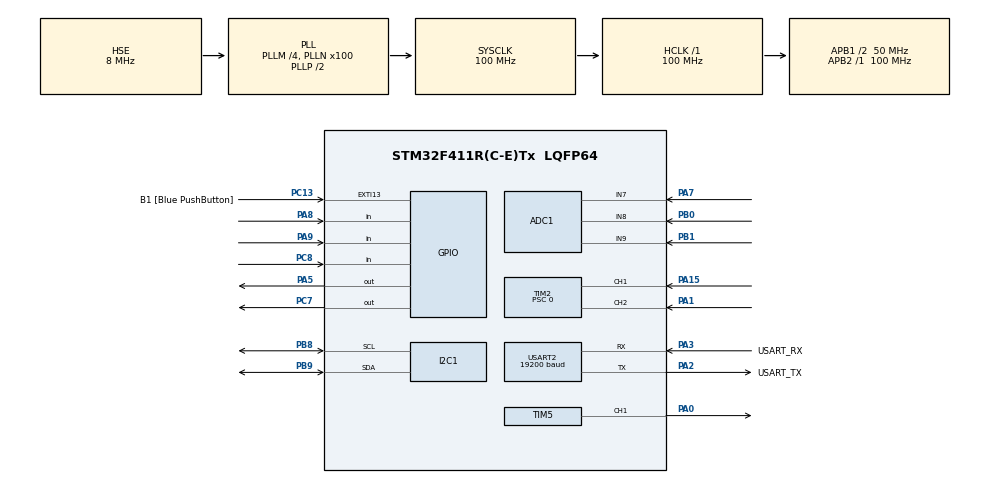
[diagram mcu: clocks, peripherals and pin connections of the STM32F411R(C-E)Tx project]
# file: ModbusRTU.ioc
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ADC1.Channel-6\#ChannelRegularConversion=ADC_CHANNEL_8
ADC1.Channel-7\#ChannelRegularConversion=ADC_CHANNEL_9
ADC1.Channel-8\#ChannelRegularConversion=ADC_CHANNEL_7
ADC1.ContinuousConvMode=ENABLE
ADC1.DMAContinuousRequests=ENABLE
ADC1.NbrOfConversion=3
ADC1.NbrOfConversionFlag=1
ADC1.Rank-6\#ChannelRegularConversion=1
ADC1.Rank-7\#ChannelRegularConversion=2
ADC1.Rank-8\#ChannelRegularConversion=3
ADC1.SamplingTime-6\#ChannelRegularConversion=ADC_SAMPLETIME_56CYCLES
ADC1.SamplingTime-7\#ChannelRegularConversion=ADC_SAMPLETIME_56CYCLES
ADC1.SamplingTime-8\#ChannelRegularConversion=ADC_SAMPLETIME_56CYCLES
ADC1.ScanConvMode=ENABLE
ADC1.master=1
ARM.CMSIS.5.6.0.CMSISJjCORE=true
ARM.CMSIS.5.6.0.CMSISJjDSP=Library
Dma.ADC1.1.Direction=DMA_PERIPH_TO_MEMORY
Dma.ADC1.1.FIFOMode=DMA_FIFOMODE_DISABLE
Dma.ADC1.1.Instance=DMA2_Stream0
Dma.ADC1.1.MemDataAlignment=DMA_MDATAALIGN_HALFWORD
Dma.ADC1.1.MemInc=DMA_MINC_ENABLE
Dma.ADC1.1.Mode=DMA_CIRCULAR
Dma.ADC1.1.PeriphDataAlignment=DMA_PDATAALIGN_HALFWORD
Dma.ADC1.1.PeriphInc=DMA_PINC_DISABLE
Dma.ADC1.1.Priority=DMA_PRIORITY_LOW
Dma.Request0=USART2_TX
Dma.Request1=ADC1
Dma.USART2_TX.0.Direction=DMA_MEMORY_TO_PERIPH
Dma.USART2_TX.0.FIFOMode=DMA_FIFOMODE_DISABLE
Dma.USART2_TX.0.Instance=DMA1_Stream6
Dma.USART2_TX.0.MemDataAlignment=DMA_MDATAALIGN_BYTE
Dma.USART2_TX.0.MemInc=DMA_MINC_ENABLE
Dma.USART2_TX.0.Mode=DMA_NORMAL
Dma.USART2_TX.0.PeriphDataAlignment=DMA_PDATAALIGN_BYTE
Dma.USART2_TX.0.PeriphInc=DMA_PINC_DISABLE
Dma.USART2_TX.0.Priority=DMA_PRIORITY_LOW
Mcu.Family=STM32F4
Mcu.Name=STM32F411R(C-E)Tx
Mcu.Package=LQFP64
NVIC.DMA1_Stream6_IRQn=true\:0\:0\:false\:false\:true\:false\:true\:true
NVIC.DMA2_Stream0_IRQn=true\:0\:0\:false\:false\:true\:false\:true\:true
NVIC.I2C1_ER_IRQn=true\:0\:0\:false\:false\:true\:true\:true\:true
NVIC.I2C1_EV_IRQn=true\:0\:0\:false\:false\:true\:true\:true\:true
NVIC.PriorityGroup=NVIC_PRIORITYGROUP_0
NVIC.TIM1_TRG_COM_TIM11_IRQn=true\:0\:0\:false\:false\:true\:true\:true\:true
NVIC.TIM2_IRQn=true\:0\:0\:false\:false\:true\:true\:true\:true
NVIC.TIM3_IRQn=true\:0\:0\:false\:false\:true\:true\:true\:true
NVIC.USART2_IRQn=true\:0\:0\:false\:false\:true\:true\:true\:true
PA0-WKUP.Signal=S_TIM5_CH1
PA1.Signal=S_TIM2_CH2
PA13.GPIO_Label=TMS
PA13.Mode=Serial_Wire
PA13.Signal=SYS_JTMS-SWDIO
PA14.GPIO_Label=TCK
PA14.Mode=Serial_Wire
PA14.Signal=SYS_JTCK-SWCLK
PA15.Signal=S_TIM2_CH1_ETR
PA2.GPIO_Label=USART_TX
PA2.Mode=Asynchronous
PA2.Signal=USART2_TX
PA3.GPIO_Label=USART_RX
PA3.Mode=Asynchronous
PA3.Signal=USART2_RX
PA5.Signal=GPIO_Output
PA7.Signal=ADCx_IN7
PA8.Signal=GPIO_Input
PA9.Signal=GPIO_Input
PB0.Signal=ADCx_IN8
PB1.Signal=ADCx_IN9
PB3.GPIO_Label=SWO
PB3.Signal=SYS_JTDO-SWO
PB8.Mode=I2C
PB8.Signal=I2C1_SCL
PB9.Mode=I2C
PB9.Signal=I2C1_SDA
PC13-ANTI_TAMP.GPIO_Label=B1 [Blue PushButton]
PC13-ANTI_TAMP.GPIO_ModeDefaultEXTI=GPIO_MODE_IT_FALLING
PC13-ANTI_TAMP.Signal=GPXTI13
PC14-OSC32_IN.Mode=LSE-External-Oscillator
PC14-OSC32_IN.Signal=RCC_OSC32_IN
PC15-OSC32_OUT.Mode=LSE-External-Oscillator
PC15-OSC32_OUT.Signal=RCC_OSC32_OUT
PC7.Signal=GPIO_Output
PC8.Signal=GPIO_Input
PH0\ -\ OSC_IN.Mode=HSE-External-Clock-Source
PH0\ -\ OSC_IN.Signal=RCC_OSC_IN
PH1\ -\ OSC_OUT.Mode=HSE-External-Clock-Source
PH1\ -\ OSC_OUT.Signal=RCC_OSC_OUT
ProjectManager.HeapSize=0x200
ProjectManager.StackSize=0x400
ProjectManager.TargetToolchain=STM32CubeIDE
RCC.48MHZClocksFreq_Value=50000000
RCC.AHBFreq_Value=100000000
RCC.APB1CLKDivider=RCC_HCLK_DIV2
RCC.APB1Freq_Value=50000000
RCC.APB1TimFreq_Value=100000000
RCC.APB2Freq_Value=100000000
RCC.APB2TimFreq_Value=100000000
RCC.CortexFreq_Value=100000000
RCC.FLatency-AdvancedSettings=FLASH_LATENCY_3
RCC.HCLKFreq_Value=100000000
RCC.HSE_VALUE=8000000
RCC.HSI_VALUE=16000000
RCC.PLLM=4
RCC.PLLN=100
RCC.PLLSourceVirtual=RCC_PLLSOURCE_HSE
RCC.SYSCLKFreq_VALUE=100000000
RCC.SYSCLKSource=RCC_SYSCLKSOURCE_PLLCLK
RCC.VCOOutputFreq_Value=200000000
SH.ADCx_IN7.0=ADC1_IN7,IN7
SH.ADCx_IN8.0=ADC1_IN8,IN8
SH.ADCx_IN9.0=ADC1_IN9,IN9
SH.S_TIM2_CH1_ETR.0=TIM2_CH1,Encoder_Interface
SH.S_TIM2_CH2.0=TIM2_CH2,Encoder_Interface
SH.S_TIM5_CH1.0=TIM5_CH1,PWM Generation1 CH1
TIM11.Channel=TIM_CHANNEL_1
TIM11.OCMode_1=TIM_OCMODE_ACTIVE
TIM11.Period=2005
TIM11.Prescaler=99
TIM11.Pulse=1433
TIM2.EncoderMode=TIM_ENCODERMODE_TI12
TIM2.Period=4294967295
TIM2.Prescaler=0
TIM3.Period=20000
TIM3.Prescaler=83
TIM3.TIM_MasterOutputTrigger=TIM_TRGO_UPDATE
TIM5.Channel-PWM\ Generation1\ CH1=TIM_CHANNEL_1
TIM5.Period=20000
USART2.BaudRate=19200
USART2.Parity=PARITY_EVEN
USART2.VirtualMode=VM_ASYNC
USART2.WordLength=WORDLENGTH_9B
VP_ARM.CMSIS_VS_CMSISJjCORE_5.3.0_5.6.0.Mode=CMSISJjCORE
VP_ARM.CMSIS_VS_CMSISJjDSP_1.7.0_5.6.0.Mode=CMSISJjDSP
VP_TIM11_VS_ClockSourceINT.Mode=Enable_Timer
VP_TIM11_VS_OPM.Mode=OPM_bit
VP_TIM11_VS_no_output1.Mode=Output Compare1 No Output
VP_TIM3_VS_ClockSourceINT.Mode=Internal
board=NUCLEO-F411RE

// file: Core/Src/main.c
/* USER CODE BEGIN Header */
/**
  ******************************************************************************
  * @file           : main.c
  * @brief          : Main program body
  ******************************************************************************
  * @attention
  *
  * Copyright (c) 2023 STMicroelectronics.
  * All rights reserved.
  *
  * This software is licensed under terms that can be found in the LICENSE file
  * in the root directory of this software component.
  * If no LICENSE file comes with this software, it is provided AS-IS.
  *
  ******************************************************************************
  */
/* USER CODE END Header */
#include "main.h"

/* USER CODE BEGIN Includes */
#include "ModBusRTU.h"
#include <stdint.h>
#include "arm_math.h"
#include <math.h>
/* USER CODE END Includes */

ADC_HandleTypeDef hadc1;
DMA_HandleTypeDef hdma_adc1;

I2C_HandleTypeDef hi2c1;

TIM_HandleTypeDef htim2;
TIM_HandleTypeDef htim3;
TIM_HandleTypeDef htim5;
TIM_HandleTypeDef htim11;

UART_HandleTypeDef huart2;
DMA_HandleTypeDef hdma_usart2_tx;

/* USER CODE BEGIN PV */
ModbusHandleTypedef hmodbus;

typedef union{
	int16_t U16;
	int8_t U8;
}int16int8;
int16int8 registerFrame[70];

// Modbus function
uint8_t mainstate;
typedef enum
{
	checkstate, SetPoint, Homing, SetPick_PlaceTray, Run_tray_mode
}BaseStatus;

// Joystick controller
typedef struct{
	uint16_t X_Axis;
	uint16_t Y_Axis;
	uint16_t joy_button;
}All_ADC;

All_ADC adc;

uint8_t left, right; //X_axis
uint8_t top, bottom; //Y_axis

//define pick place mode

uint8_t pick_or_place; // to see this is in pick or place mode /0/ = pick , /1/ = place

typedef struct{
	float X_point[3];
	float Y_point[3];
}point_array;

point_array pick_point,place_point;

// define position velocity accerelation

int32_t QEIRead;
float position, velocity, accerelation;

float velocity_array[10];
uint8_t velocity_index = 0;

float avg_velocity, avg_accerelation;

int32_t degree; // use in trajectory function

// trajectory mode

float sampling_time, speed_happen, present_position, time_final;
uint8_t toggle_trajec = 1;

uint8_t arrived = 1;
float pick_place_array[10];

// motor control

float Vfeedback, error_hap;

// calculate tray position

typedef enum
{
	plus_plus,   //   X /+/, Y /+/
	minus_plus,  //   X /-/, Y /+/
	minus_minus, //   X /-/, Y /-/
	plus_minus   //   X /+/, Y /-/

}quadrant;

float32_t degree_triangle;
float32_t payback_val;

// undefine or debug

uint8_t debug_1;
uint16_t debug_2;
float debug_3;

// I2C end effector variable
uint8_t ENEstatus; // for reading status from end effector as 8 bit MSB
int modeSelect; // select mode 1 - 9 in live expression
uint8_t slaveAddress = 0x15;
//Sequences modes
uint8_t softResetseq[4] = {0x00, 0xFF,0x55,0xAA};
uint8_t Emergencyseq[1] = {0xF1};
uint8_t stopEmergencyseq[4] = {0xE5, 0x7A, 0xFF, 0x81};
uint8_t startTestseq[2] = {0x01, 0x02};
uint8_t stopTestseq[2] = {0x01, 0x00};
uint8_t startRunseq[2] = {0x10, 0x13};
uint8_t stopRunseq[2] = {0x10, 0x8C};
uint8_t pickseq[2] = {0x10, 0x5A};
uint8_t placeseq[2] = {0x10, 0x69};

 uint8_t statusTemp[1];
 uint8_t readFlag = 0;
 uint8_t readFlag2 = 0;
 uint8_t read_count = 0;

// home status
uint8_t home_in = 1;
uint8_t flip_position = 0;

/* USER CODE END PV */

void SystemClock_Config(void);
static void MX_GPIO_Init(void);
static void MX_DMA_Init(void);
static void MX_USART2_UART_Init(void);
static void MX_TIM11_Init(void);
static void MX_TIM3_Init(void);
static void MX_ADC1_Init(void);
static void MX_TIM2_Init(void);
static void MX_TIM5_Init(void);
static void MX_I2C1_Init(void);
/* USER CODE BEGIN PFP */

void heartbeat();
void MainStateMechine();
void simple_value();

double PID_plan2(double position_error, double velocity_error, uint8_t time_delay);
//void Joystick();

//I2C functions
void softResetMode();
void EmergencyMode();
void stopEmergencyMode();
void startTestMode();
void stopTestMode();
void startRunMode();
void stopRunMode();
void pickMode();
void placeMode();
void readStatus();
void modeControl();

//   1) soft Reset Mode
//   2) Emergency Mode
//   3) stop Emergency Mode
//   4) start Test Mode
//   5) stop Test Mode
//   6) start Run Mode
//   7) stop Run Mode
//   8) pick Mode
//   9) place Mode
/* USER CODE END PFP */

int main(void)
{

  /* MCU Configuration--------------------------------------------------------*/

  /* Reset of all peripherals, Initializes the Flash interface and the Systick. */
  HAL_Init();

  /* Configure the system clock */
  SystemClock_Config();

  /* Initialize all configured peripherals */
  MX_GPIO_Init();
  MX_DMA_Init();
  MX_USART2_UART_Init();
  MX_TIM11_Init();
  MX_TIM3_Init();
  MX_ADC1_Init();
  MX_TIM2_Init();
  MX_TIM5_Init();
  MX_I2C1_Init();
  /* USER CODE BEGIN 2 */
  //end effector delay for SDA line error
  HAL_Delay(10);
  hmodbus.huart = &huart2;
  hmodbus.htim = &htim11;
  hmodbus.slaveAddress = 0x15;
  hmodbus.RegisterSize =70;
  Modbus_init(&hmodbus, registerFrame);

  //Joystick setup
  HAL_ADC_Start_DMA(&hadc1, &adc, 3);

  //encoder setup
  HAL_TIM_Encoder_Start(&htim2, TIM_CHANNEL_1|TIM_CHANNEL_2);

  // motor setup
  HAL_TIM_Base_Start(&htim5);
  HAL_TIM_PWM_Start(&htim5, TIM_CHANNEL_1);

  // soft reset I2C evrytime we start new run
  modeSelect = 1;
  static uint32_t main_timestamp = 0;
  static uint32_t I2C_timestamp = 0;

  static uint8_t toggle_laser = 1;
  static uint8_t last_toggle_laser;
  /* USER CODE END 2 */

  /* Infinite loop */
  /* USER CODE BEGIN WHILE */
  while (1)
  {

	  // for I2C delay call read and control
	  static uint32_t i2ctimestamp = 0;
	  static uint32_t i2ctimestamp2 = 0;
	  static uint32_t endstatustimestamp = 0;

	  debug_1 = HAL_GPIO_ReadPin(GPIOA, GPIO_PIN_8);
	  debug_2 = HAL_GPIO_ReadPin(GPIOA, GPIO_PIN_9);

  	  if(modeSelect != 0){
  		  modeControl();
  	  }

  	  if(readFlag == 1 && i2ctimestamp <= HAL_GetTick() )
  	  {
  	      i2ctimestamp = HAL_GetTick() + 10;
  	      readStatus();

  	  }

  	  if(readFlag == 1 && endstatustimestamp <= HAL_GetTick() ){
  		  endstatustimestamp += 10;
  	      ENEstatus = statusTemp[0];
  	  }

	  if(readFlag2 == 1 && i2ctimestamp2 <= HAL_GetTick() ){

		  i2ctimestamp2 = HAL_GetTick() + 1000;
		  readStatus();
		  read_count += 1;
		  if(read_count  >3){
			readFlag2 = 0;
		  }

	  }

	  if(endstatustimestamp <= HAL_GetTick() ){
		  endstatustimestamp += 10;
		  ENEstatus = statusTemp[0];
	  }

	 // I2C protocol frame
	 toggle_laser = registerFrame[2].U16;

	 if(toggle_laser == 1 && last_toggle_laser != toggle_laser){
		 modeSelect = 4;

	 }else if(toggle_laser == 0 && last_toggle_laser != toggle_laser){
		 modeSelect = 5;

	 }
	 last_toggle_laser = toggle_laser;

	  simple_value();

	  // Modbus Protocal

	  Modbus_Protocal_Worker();

	  // main state machine and heartbeat

	  MainStateMechine();
	  heartbeat();

//	  if(hi2c1.State != HAL_I2C_STATE_BUSY){
//		  status = readStatus();
//	  }

	  registerFrame[17].U16 = position;

	  // make position, velocuty, accerelation

    /* USER CODE END WHILE */

  }
}

void SystemClock_Config(void)
{
  RCC_OscInitTypeDef RCC_OscInitStruct = {0};
  RCC_ClkInitTypeDef RCC_ClkInitStruct = {0};

  /** Configure the main internal regulator output voltage
  */
  __HAL_RCC_PWR_CLK_ENABLE();
  __HAL_PWR_VOLTAGESCALING_CONFIG(PWR_REGULATOR_VOLTAGE_SCALE1);

  /** Initializes the RCC Oscillators according to the specified parameters
  * in the RCC_OscInitTypeDef structure.
  */
  RCC_OscInitStruct.OscillatorType = RCC_OSCILLATORTYPE_HSE;
  RCC_OscInitStruct.HSEState = RCC_HSE_BYPASS;
  RCC_OscInitStruct.PLL.PLLState = RCC_PLL_ON;
  RCC_OscInitStruct.PLL.PLLSource = RCC_PLLSOURCE_HSE;
  RCC_OscInitStruct.PLL.PLLM = 4;
  RCC_OscInitStruct.PLL.PLLN = 100;
  RCC_OscInitStruct.PLL.PLLP = RCC_PLLP_DIV2;
  RCC_OscInitStruct.PLL.PLLQ = 4;
  if (HAL_RCC_OscConfig(&RCC_OscInitStruct) != HAL_OK)
  {
    Error_Handler();
  }

  /** Initializes the CPU, AHB and APB buses clocks
  */
  RCC_ClkInitStruct.ClockType = RCC_CLOCKTYPE_HCLK|RCC_CLOCKTYPE_SYSCLK
                              |RCC_CLOCKTYPE_PCLK1|RCC_CLOCKTYPE_PCLK2;
  RCC_ClkInitStruct.SYSCLKSource = RCC_SYSCLKSOURCE_PLLCLK;
  RCC_ClkInitStruct.AHBCLKDivider = RCC_SYSCLK_DIV1;
  RCC_ClkInitStruct.APB1CLKDivider = RCC_HCLK_DIV2;
  RCC_ClkInitStruct.APB2CLKDivider = RCC_HCLK_DIV1;

  if (HAL_RCC_ClockConfig(&RCC_ClkInitStruct, FLASH_LATENCY_3) != HAL_OK)
  {
    Error_Handler();
  }
}

static void MX_ADC1_Init(void)
{

  ADC_ChannelConfTypeDef sConfig = {0};

  /** Configure the global features of the ADC (Clock, Resolution, Data Alignment and number of conversion)
  */
  hadc1.Instance = ADC1;
  hadc1.Init.ClockPrescaler = ADC_CLOCK_SYNC_PCLK_DIV4;
  hadc1.Init.Resolution = ADC_RESOLUTION_12B;
  hadc1.Init.ScanConvMode = ENABLE;
  hadc1.Init.ContinuousConvMode = ENABLE;
  hadc1.Init.DiscontinuousConvMode = DISABLE;
  hadc1.Init.ExternalTrigConvEdge = ADC_EXTERNALTRIGCONVEDGE_NONE;
  hadc1.Init.ExternalTrigConv = ADC_SOFTWARE_START;
  hadc1.Init.DataAlign = ADC_DATAALIGN_RIGHT;
  hadc1.Init.NbrOfConversion = 3;
  hadc1.Init.DMAContinuousRequests = ENABLE;
  hadc1.Init.EOCSelection = ADC_EOC_SINGLE_CONV;
  if (HAL_ADC_Init(&hadc1) != HAL_OK)
  {
    Error_Handler();
  }

  /** Configure for the selected ADC regular channel its corresponding rank in the sequencer and its sample time.
  */
  sConfig.Channel = ADC_CHANNEL_8;
  sConfig.Rank = 1;
  sConfig.SamplingTime = ADC_SAMPLETIME_56CYCLES;
  if (HAL_ADC_ConfigChannel(&hadc1, &sConfig) != HAL_OK)
  {
    Error_Handler();
  }

  /** Configure for the selected ADC regular channel its corresponding rank in the sequencer and its sample time.
  */
  sConfig.Channel = ADC_CHANNEL_9;
  sConfig.Rank = 2;
  if (HAL_ADC_ConfigChannel(&hadc1, &sConfig) != HAL_OK)
  {
    Error_Handler();
  }

  /** Configure for the selected ADC regular channel its corresponding rank in the sequencer and its sample time.
  */
  sConfig.Channel = ADC_CHANNEL_7;
  sConfig.Rank = 3;
  if (HAL_ADC_ConfigChannel(&hadc1, &sConfig) != HAL_OK)
  {
    Error_Handler();
  }

}

static void MX_I2C1_Init(void)
{

  hi2c1.Instance = I2C1;
  hi2c1.Init.ClockSpeed = 100000;
  hi2c1.Init.DutyCycle = I2C_DUTYCYCLE_2;
  hi2c1.Init.OwnAddress1 = 0;
  hi2c1.Init.AddressingMode = I2C_ADDRESSINGMODE_7BIT;
  hi2c1.Init.DualAddressMode = I2C_DUALADDRESS_DISABLE;
  hi2c1.Init.OwnAddress2 = 0;
  hi2c1.Init.GeneralCallMode = I2C_GENERALCALL_DISABLE;
  hi2c1.Init.NoStretchMode = I2C_NOSTRETCH_DISABLE;
  if (HAL_I2C_Init(&hi2c1) != HAL_OK)
  {
    Error_Handler();
  }

}

static void MX_TIM2_Init(void)
{

  TIM_Encoder_InitTypeDef sConfig = {0};
  TIM_MasterConfigTypeDef sMasterConfig = {0};

  htim2.Instance = TIM2;
  htim2.Init.Prescaler = 0;
  htim2.Init.CounterMode = TIM_COUNTERMODE_UP;
  htim2.Init.Period = 4294967295;
  htim2.Init.ClockDivision = TIM_CLOCKDIVISION_DIV1;
  htim2.Init.AutoReloadPreload = TIM_AUTORELOAD_PRELOAD_DISABLE;
  sConfig.EncoderMode = TIM_ENCODERMODE_TI12;
  sConfig.IC1Polarity = TIM_ICPOLARITY_RISING;
  sConfig.IC1Selection = TIM_ICSELECTION_DIRECTTI;
  sConfig.IC1Prescaler = TIM_ICPSC_DIV1;
  sConfig.IC1Filter = 0;
  sConfig.IC2Polarity = TIM_ICPOLARITY_RISING;
  sConfig.IC2Selection = TIM_ICSELECTION_DIRECTTI;
  sConfig.IC2Prescaler = TIM_ICPSC_DIV1;
  sConfig.IC2Filter = 0;
  if (HAL_TIM_Encoder_Init(&htim2, &sConfig) != HAL_OK)
  {
    Error_Handler();
  }
  sMasterConfig.MasterOutputTrigger = TIM_TRGO_RESET;
  sMasterConfig.MasterSlaveMode = TIM_MASTERSLAVEMODE_DISABLE;
  if (HAL_TIMEx_MasterConfigSynchronization(&htim2, &sMasterConfig) != HAL_OK)
  {
    Error_Handler();
  }

}

static void MX_TIM3_Init(void)
{

  TIM_ClockConfigTypeDef sClockSourceConfig = {0};
  TIM_MasterConfigTypeDef sMasterConfig = {0};

  htim3.Instance = TIM3;
  htim3.Init.Prescaler = 83;
  htim3.Init.CounterMode = TIM_COUNTERMODE_UP;
  htim3.Init.Period = 20000;
  htim3.Init.ClockDivision = TIM_CLOCKDIVISION_DIV1;
  htim3.Init.AutoReloadPreload = TIM_AUTORELOAD_PRELOAD_DISABLE;
  if (HAL_TIM_Base_Init(&htim3) != HAL_OK)
  {
    Error_Handler();
  }
  sClockSourceConfig.ClockSource = TIM_CLOCKSOURCE_INTERNAL;
  if (HAL_TIM_ConfigClockSource(&htim3, &sClockSourceConfig) != HAL_OK)
  {
    Error_Handler();
  }
  sMasterConfig.MasterOutputTrigger = TIM_TRGO_UPDATE;
  sMasterConfig.MasterSlaveMode = TIM_MASTERSLAVEMODE_DISABLE;
  if (HAL_TIMEx_MasterConfigSynchronization(&htim3, &sMasterConfig) != HAL_OK)
  {
    Error_Handler();
  }

}

static void MX_TIM5_Init(void)
{

  TIM_MasterConfigTypeDef sMasterConfig = {0};
  TIM_OC_InitTypeDef sConfigOC = {0};

  htim5.Instance = TIM5;
  htim5.Init.Prescaler = 0;
  htim5.Init.CounterMode = TIM_COUNTERMODE_UP;
  htim5.Init.Period = 20000;
  htim5.Init.ClockDivision = TIM_CLOCKDIVISION_DIV1;
  htim5.Init.AutoReloadPreload = TIM_AUTORELOAD_PRELOAD_DISABLE;
  if (HAL_TIM_PWM_Init(&htim5) != HAL_OK)
  {
    Error_Handler();
  }
  sMasterConfig.MasterOutputTrigger = TIM_TRGO_RESET;
  sMasterConfig.MasterSlaveMode = TIM_MASTERSLAVEMODE_DISABLE;
  if (HAL_TIMEx_MasterConfigSynchronization(&htim5, &sMasterConfig) != HAL_OK)
  {
    Error_Handler();
  }
  sConfigOC.OCMode = TIM_OCMODE_PWM1;
  sConfigOC.Pulse = 0;
  sConfigOC.OCPolarity = TIM_OCPOLARITY_HIGH;
  sConfigOC.OCFastMode = TIM_OCFAST_DISABLE;
  if (HAL_TIM_PWM_ConfigChannel(&htim5, &sConfigOC, TIM_CHANNEL_1) != HAL_OK)
  {
    Error_Handler();
  }
  HAL_TIM_MspPostInit(&htim5);

}

static void MX_TIM11_Init(void)
{

  TIM_OC_InitTypeDef sConfigOC = {0};

  htim11.Instance = TIM11;
  htim11.Init.Prescaler = 99;
  htim11.Init.CounterMode = TIM_COUNTERMODE_UP;
  htim11.Init.Period = 2005;
  htim11.Init.ClockDivision = TIM_CLOCKDIVISION_DIV1;
  htim11.Init.AutoReloadPreload = TIM_AUTORELOAD_PRELOAD_DISABLE;
  if (HAL_TIM_Base_Init(&htim11) != HAL_OK)
  {
    Error_Handler();
  }
  if (HAL_TIM_OC_Init(&htim11) != HAL_OK)
  {
    Error_Handler();
  }
  if (HAL_TIM_OnePulse_Init(&htim11, TIM_OPMODE_SINGLE) != HAL_OK)
  {
    Error_Handler();
  }
  sConfigOC.OCMode = TIM_OCMODE_ACTIVE;
  sConfigOC.Pulse = 1433;
  sConfigOC.OCPolarity = TIM_OCPOLARITY_HIGH;
  sConfigOC.OCFastMode = TIM_OCFAST_DISABLE;
  if (HAL_TIM_OC_ConfigChannel(&htim11, &sConfigOC, TIM_CHANNEL_1) != HAL_OK)
  {
    Error_Handler();
  }

}

static void MX_USART2_UART_Init(void)
{

  huart2.Instance = USART2;
  huart2.Init.BaudRate = 19200;
  huart2.Init.WordLength = UART_WORDLENGTH_9B;
  huart2.Init.StopBits = UART_STOPBITS_1;
  huart2.Init.Parity = UART_PARITY_EVEN;
  huart2.Init.Mode = UART_MODE_TX_RX;
  huart2.Init.HwFlowCtl = UART_HWCONTROL_NONE;
  huart2.Init.OverSampling = UART_OVERSAMPLING_16;
  if (HAL_UART_Init(&huart2) != HAL_OK)
  {
    Error_Handler();
  }

}

static void MX_DMA_Init(void)
{

  /* DMA controller clock enable */
  __HAL_RCC_DMA1_CLK_ENABLE();
  __HAL_RCC_DMA2_CLK_ENABLE();

  /* DMA interrupt init */
  /* DMA1_Stream6_IRQn interrupt configuration */
  HAL_NVIC_SetPriority(DMA1_Stream6_IRQn, 0, 0);
  HAL_NVIC_EnableIRQ(DMA1_Stream6_IRQn);
  /* DMA2_Stream0_IRQn interrupt configuration */
  HAL_NVIC_SetPriority(DMA2_Stream0_IRQn, 0, 0);
  HAL_NVIC_EnableIRQ(DMA2_Stream0_IRQn);

}

static void MX_GPIO_Init(void)
{
  GPIO_InitTypeDef GPIO_InitStruct = {0};

  /* GPIO Ports Clock Enable */
  __HAL_RCC_GPIOC_CLK_ENABLE();
  __HAL_RCC_GPIOH_CLK_ENABLE();
  __HAL_RCC_GPIOA_CLK_ENABLE();
  __HAL_RCC_GPIOB_CLK_ENABLE();

  /*Configure GPIO pin Output Level */
  HAL_GPIO_WritePin(GPIOA, GPIO_PIN_5, GPIO_PIN_RESET);

  /*Configure GPIO pin Output Level */
  HAL_GPIO_WritePin(GPIOC, GPIO_PIN_7, GPIO_PIN_RESET);

  /*Configure GPIO pin : B1_Pin */
  GPIO_InitStruct.Pin = B1_Pin;
  GPIO_InitStruct.Mode = GPIO_MODE_IT_FALLING;
  GPIO_InitStruct.Pull = GPIO_NOPULL;
  HAL_GPIO_Init(B1_GPIO_Port, &GPIO_InitStruct);

  /*Configure GPIO pin : PA5 */
  GPIO_InitStruct.Pin = GPIO_PIN_5;
  GPIO_InitStruct.Mode = GPIO_MODE_OUTPUT_PP;
  GPIO_InitStruct.Pull = GPIO_NOPULL;
  GPIO_InitStruct.Speed = GPIO_SPEED_FREQ_LOW;
  HAL_GPIO_Init(GPIOA, &GPIO_InitStruct);

  /*Configure GPIO pin : PC7 */
  GPIO_InitStruct.Pin = GPIO_PIN_7;
  GPIO_InitStruct.Mode = GPIO_MODE_OUTPUT_PP;
  GPIO_InitStruct.Pull = GPIO_NOPULL;
  GPIO_InitStruct.Speed = GPIO_SPEED_FREQ_LOW;
  HAL_GPIO_Init(GPIOC, &GPIO_InitStruct);

  /*Configure GPIO pin : PC8 */
  GPIO_InitStruct.Pin = GPIO_PIN_8;
  GPIO_InitStruct.Mode = GPIO_MODE_INPUT;
  GPIO_InitStruct.Pull = GPIO_NOPULL;
  HAL_GPIO_Init(GPIOC, &GPIO_InitStruct);

  /*Configure GPIO pins : PA8 PA9 */
  GPIO_InitStruct.Pin = GPIO_PIN_8|GPIO_PIN_9;
  GPIO_InitStruct.Mode = GPIO_MODE_INPUT;
  GPIO_InitStruct.Pull = GPIO_NOPULL;
  HAL_GPIO_Init(GPIOA, &GPIO_InitStruct);

}

/* USER CODE BEGIN 4 */

void heartbeat()
{
	static uint32_t timestamp = 0;
	if(HAL_GetTick() >= timestamp)
	{
		timestamp = HAL_GetTick() + 200;
		registerFrame[0].U16 = 22881;
	}
}

void simple_value(){
	static uint32_t timestamp = 0;

	//encoder value
	QEIRead = __HAL_TIM_GET_COUNTER(&htim2);

	//position
	position = QEIRead / 128.38046;

	registerFrame[17].U16 = position * 10;

	registerFrame[18].U16 = velocity * 10;

	registerFrame[19].U16 = accerelation * 10;
	//velocity and accerelation

	if(timestamp < HAL_GetTick()){
		timestamp = HAL_GetTick() + 1;

		static float previousPosition = 0;
		static float previousVelocity = 0;

		float deltaTime = 1.0 / 1000.0;

		velocity = (position - previousPosition) / deltaTime;

		velocity_array[velocity_index] = velocity;
		velocity_index++;
		velocity_index %= 10;

		float sum = 0.0;
		for(int i = 0; i < 10; i++){
			sum += velocity_array[i];
		}

		avg_velocity = sum / 10.0;

		accerelation = (velocity - previousVelocity) / deltaTime;

		previousPosition = position;

		previousVelocity = velocity;

	}

}

void Joystick()
{
	// X_Axis
	static uint8_t last_toggle;
	debug_3 = HAL_GPIO_ReadPin(GPIOC, GPIO_PIN_8);

	if(HAL_GPIO_ReadPin(GPIOC, GPIO_PIN_8) == 0 && last_toggle == 1){
		static uint8_t i = 0;
		static uint8_t j = 0;
		if(pick_or_place == 0){

			pick_point.X_point[i] = registerFrame[68].U16 / 10.0; // get the position from
			pick_point.Y_point[i] = position;

			i++;
			i%=3;

		}else if(pick_or_place == 1){

			place_point.X_point[j] = registerFrame[68].U16 / 10.0;
			place_point.Y_point[j] = position;

			j++;
			j%=3;

		}
	}
	if (adc.X_Axis >= 0 && adc.X_Axis <= 100) {
	    right = 1;
	    left = 0;
	    registerFrame[64].U16 = 8;
	}

	else if(adc.X_Axis >= 3100)
	{
		left = 1;
		right = 0;
		registerFrame[64].U16 = 4;
	}else{
		left = 0;
		right = 0;
		registerFrame[64].U16 = 0;
	}

	//Y_Axis
	if(0 <= adc.Y_Axis && adc.Y_Axis <= 100)
	{
		top = 1;
		bottom = 0;
        HAL_GPIO_WritePin(GPIOC, GPIO_PIN_7, GPIO_PIN_SET);
        __HAL_TIM_SET_COMPARE(&htim5, TIM_CHANNEL_1, 2500);
     //   HAL_TIM_
	}
	else if(adc.Y_Axis >= 3150)
	{
		bottom = 1;
		top = 0;
        HAL_GPIO_WritePin(GPIOC, GPIO_PIN_7, GPIO_PIN_RESET);
        __HAL_TIM_SET_COMPARE(&htim5, TIM_CHANNEL_1, 2500);
	}else{
		bottom = 0;
		top = 0;
		HAL_GPIO_WritePin(GPIOC, GPIO_PIN_7, GPIO_PIN_SET);
		__HAL_TIM_SET_COMPARE(&htim5, TIM_CHANNEL_1, 0);
		__HAL_TIM_SET_COMPARE(&htim5, TIM_CHANNEL_1, 0);
		__HAL_TIM_SET_COMPARE(&htim5, TIM_CHANNEL_1, 0);
		__HAL_TIM_SET_COMPARE(&htim5, TIM_CHANNEL_1, 0);
		__HAL_TIM_SET_COMPARE(&htim5, TIM_CHANNEL_1, 0);
	}
	last_toggle = HAL_GPIO_ReadPin(GPIOC, GPIO_PIN_8);
}

void main_trajectory(float required_position, uint8_t point_or_tray){
	static uint32_t timestamp_trajectory = 0;
	if(timestamp_trajectory < HAL_GetTick()){
		timestamp_trajectory = HAL_GetTick() + 1;
		sampling_time = sampling_time + 1.0;
		if(point_or_tray == 1){
			Trapzoidal_viapoint(position, required_position);
		}else if(point_or_tray == 0){
			Trapzoidal_pick_place(position, required_position);
		}
	}

}

void Trapzoidal_viapoint(double initial_point, double final_point){
	// setup rise_time = 0.15s || stable = 0.70 || fall_time = 0.15
	float compare_time;
	double maximum_speed = 700; // mm/s
	float time_first;
	static double last_position; //mm^2/s

	compare_time = sampling_time / 1000.0;

	time_final = (1.5* (final_point - initial_point) / maximum_speed);
	time_first = (initial_point - final_point + maximum_speed*time_final)/maximum_speed;

	if(time_final >= 0){
		if(compare_time < time_first){
				present_position = initial_point + maximum_speed*(compare_time*compare_time)/(2*time_first);
			}
			else if(compare_time > time_first && compare_time < time_final - time_first){
				present_position = (final_point + initial_point - maximum_speed * time_final)/2 + (maximum_speed * compare_time);
			}
			else if(time_final - time_first < compare_time && compare_time <= time_final){
				present_position = final_point - (maximum_speed*(time_final*time_final)) / (2*time_first) + maximum_speed*time_final*compare_time/time_first - maximum_speed*(compare_time*compare_time)/(2*time_first);
			}
			else if(compare_time > time_final){
//				present_time = 0;
//				position = present_position;

			}

	}else if(time_final < 0){
		time_final = time_final * -1;
		time_first = time_first * -1;
		if(compare_time < time_first){
				present_position = initial_point - maximum_speed*(compare_time*compare_time)/(2*time_first);
		}
		else if(compare_time > time_first && compare_time < time_final - time_first){
				present_position = (final_point + initial_point + maximum_speed * time_final)/2 - (maximum_speed * compare_time);
		}
		else if(time_final - time_first < compare_time && compare_time <= time_final){
				present_position = final_point + (maximum_speed*(time_final*time_final)) / (2*time_first) - maximum_speed*time_final*compare_time/time_first + maximum_speed*(compare_time*compare_time)/(2*time_first);
		}
		else if(compare_time > time_final){
//				position = present_position;

		}
	}

	speed_happen = (present_position - last_position)/0.001;

	degree = 128.38046 * present_position;
	Vfeedback = PID_plan2(degree - QEIRead, speed_happen - avg_velocity, 1);
	if(Vfeedback >= 20000){
		Vfeedback = 20000;
	}

	else if(Vfeedback <= -20000){
		Vfeedback = -20000;
	}

	motor_control(compare_time, time_final);
	last_position = present_position;
}

void Trapzoidal_pick_place(double initial_point, double final_point){
	// setup rise_time = 0.15s || stable = 0.70 || fall_time = 0.15
	float compare_time;
	double maximum_speed = 700; // mm/s
	float time_first;
	static double last_position; //mm^2/s

	compare_time = sampling_time / 1000.0;

	time_final = (1.5* (final_point - initial_point) / maximum_speed);
	time_first = (initial_point - final_point + maximum_speed*time_final)/maximum_speed;

	if(time_final >= 0){
		if(compare_time < time_first){
				present_position = initial_point + maximum_speed*(compare_time*compare_time)/(2*time_first);
			}
			else if(compare_time > time_first && compare_time < time_final - time_first){
				present_position = (final_point + initial_point - maximum_speed * time_final)/2 + (maximum_speed * compare_time);
			}
			else if(time_final - time_first < compare_time && compare_time <= time_final){
				present_position = final_point - (maximum_speed*(time_final*time_final)) / (2*time_first) + maximum_speed*time_final*compare_time/time_first - maximum_speed*(compare_time*compare_time)/(2*time_first);
			}
			else if(compare_time > time_final){
//				present_time = 0;
//				position = present_position;

			}

	}else if(time_final < 0){
		time_final = time_final * -1;
		time_first = time_first * -1;
		if(compare_time < time_first){
				present_position = initial_point - maximum_speed*(compare_time*compare_time)/(2*time_first);
		}
		else if(compare_time > time_first && compare_time < time_final - time_first){
				present_position = (final_point + initial_point + maximum_speed * time_final)/2 - (maximum_speed * compare_time);
		}
		else if(time_final - time_first < compare_time && compare_time <= time_final){
				present_position = final_point + (maximum_speed*(time_final*time_final)) / (2*time_first) - maximum_speed*time_final*compare_time/time_first + maximum_speed*(compare_time*compare_time)/(2*time_first);
		}
		else if(compare_time > time_final){
//				position = present_position;

		}
	}

	speed_happen = (present_position - last_position)/0.001;

	degree = 128.38046 * present_position;
	Vfeedback = PID_plan2(degree - QEIRead, speed_happen - avg_velocity, 1);
	if(Vfeedback >= 20000){
		Vfeedback = 20000;
	}

	else if(Vfeedback <= -20000){
		Vfeedback = -20000;
	}

	motor_control_pick_place(compare_time, time_final);
	last_position = present_position;
}

double PID_plan2(double position_error, double velocity_error, uint8_t time_delay) {
    // Position PID Constants
    double Kp_position = 1.25;
    double Ki_position = 0.000030;

    // Velocity PID Constants
    double Kp_velocity = 0.85;
    double Ki_velocity = 0.000050;

    // Variables for position PID controller
    static double position_integral = 0;

    // Variables for velocity PID controller
    static double velocity_integral = 0;
    static double velocity_error_previous = 0;

    // Calculate position PID output
    double position_output = Kp_position * position_error + Ki_position * position_integral;

    // Update position integral
    position_integral += position_error * (time_delay / 1000.0);

    // Calculate velocity PID output
    double velocity_output = Kp_velocity * velocity_error + Ki_velocity * velocity_integral;

    // Update velocity integral
    velocity_integral += velocity_error * (time_delay / 1000.0);

    // Store current velocity error for the next iteration
    velocity_error_previous = velocity_error;

    // Calculate the final output as the sum of position and velocity outputs
    double final_output = position_output + velocity_output;

    return final_output;
}

void motor_control(float present_time, float time)
{
	static uint16_t timestamp_motor = 10000;
	error_hap = registerFrame[49].U16/10.0 - position;
//	float drive = VIn * 200; // 1000 * VIn/5    5 volts

	if(Vfeedback >= 20000){
		Vfeedback = 20000;
	}

	else if(Vfeedback <= -20000){
		Vfeedback = -20000;
	}

//	if(setposition - 200 < Vfeedback > setposition + 200){
//		__HAL_TIM_SET_COMPARE(&htim1, TIM_CHANNEL_1, 0);
//		__HAL_TIM_SET_COMPARE(&htim1, TIM_CHANNEL_2, 0);
//	}
	if ((error_hap) >= -0.1 && (error_hap) <= 0.1) {
//		present_time = 0;
		HAL_GPIO_WritePin(GPIOC, GPIO_PIN_7, GPIO_PIN_RESET);
		__HAL_TIM_SET_COMPARE(&htim5, TIM_CHANNEL_1, 0);

		if(timestamp_motor < HAL_GetTick()){
		   timestamp_motor = HAL_GetTick() + 10000;
		   toggle_trajec = 0;
		   mainstate = checkstate;
		}

//		in_or_not = 0;
//		point_arrived = 1;
	}
	else if(Vfeedback > 0){

		if(Vfeedback <= 1700 && sampling_time/1000.0 >= time_final * 0.85){
			debug_1 = 1;
			HAL_GPIO_WritePin(GPIOC, GPIO_PIN_7, GPIO_PIN_SET);
			__HAL_TIM_SET_COMPARE(&htim5, TIM_CHANNEL_1, 1700); //1830

		}else{
			HAL_GPIO_WritePin(GPIOC, GPIO_PIN_7, GPIO_PIN_SET);
			__HAL_TIM_SET_COMPARE(&htim5, TIM_CHANNEL_1, Vfeedback);
		}

	}

	else if(Vfeedback < 0){
		if(-1*Vfeedback <= 1700 && sampling_time/1000.0 >= time_final * 0.85){
			HAL_GPIO_WritePin(GPIOC, GPIO_PIN_7, GPIO_PIN_RESET);
			__HAL_TIM_SET_COMPARE(&htim5, TIM_CHANNEL_1, 1700);
		}else{
			HAL_GPIO_WritePin(GPIOC, GPIO_PIN_7, GPIO_PIN_RESET);
			__HAL_TIM_SET_COMPARE(&htim5, TIM_CHANNEL_1, -1*Vfeedback);
		}

	}

	else if(Vfeedback == 0){
		HAL_GPIO_WritePin(GPIOC, GPIO_PIN_7, GPIO_PIN_RESET);
		__HAL_TIM_SET_COMPARE(&htim5, TIM_CHANNEL_1, 0);
	}
}

void motor_control_pick_place(float present_time, float time)
{
	static uint16_t timestamp_motor = 10000;
	error_hap = registerFrame[49].U16/10.0 - position;
//	float drive = VIn * 200; // 1000 * VIn/5    5 volts

	if(Vfeedback >= 20000){
		Vfeedback = 20000;
	}

	else if(Vfeedback <= -20000){
		Vfeedback = -20000;
	}

//	if(setposition - 200 < Vfeedback > setposition + 200){
//		__HAL_TIM_SET_COMPARE(&htim1, TIM_CHANNEL_1, 0);
//		__HAL_TIM_SET_COMPARE(&htim1, TIM_CHANNEL_2, 0);
//	}
	if ((error_hap) >= -0.1 && (error_hap) <= 0.1) {
//		present_time = 0;
		HAL_GPIO_WritePin(GPIOC, GPIO_PIN_7, GPIO_PIN_RESET);
		__HAL_TIM_SET_COMPARE(&htim5, TIM_CHANNEL_1, 0);

		arrived = 1;
	}
	else if(Vfeedback > 0){

		if(Vfeedback <= 1700 && sampling_time/1000.0 >= time_final * 0.85 && position > 0){
			debug_1 = 1;
			HAL_GPIO_WritePin(GPIOC, GPIO_PIN_7, GPIO_PIN_SET);
			__HAL_TIM_SET_COMPARE(&htim5, TIM_CHANNEL_1, 1700); //1830

		}else{
			HAL_GPIO_WritePin(GPIOC, GPIO_PIN_7, GPIO_PIN_SET);
			__HAL_TIM_SET_COMPARE(&htim5, TIM_CHANNEL_1, Vfeedback);
		}

	}

	else if(Vfeedback < 0){
		if(-1*Vfeedback <= 1700 && sampling_time/1000.0 >= time_final * 0.85 && position < 0){
			HAL_GPIO_WritePin(GPIOC, GPIO_PIN_7, GPIO_PIN_RESET);
			__HAL_TIM_SET_COMPARE(&htim5, TIM_CHANNEL_1, 1700);
		}else{
			HAL_GPIO_WritePin(GPIOC, GPIO_PIN_7, GPIO_PIN_RESET);
			__HAL_TIM_SET_COMPARE(&htim5, TIM_CHANNEL_1, -1*Vfeedback);
		}

	}

	else if(Vfeedback == 0){
		HAL_GPIO_WritePin(GPIOC, GPIO_PIN_7, GPIO_PIN_RESET);
		__HAL_TIM_SET_COMPARE(&htim5, TIM_CHANNEL_1, 0);
	}
}
uint8_t find_diagonal_X(){

	if(!(pick_point.X_point[0] - pick_point.X_point[1] >= -5 && pick_point.X_point[0] - pick_point.X_point[1] <= 5) && !(pick_point.Y_point[0] - pick_point.Y_point[1] >= -5 && pick_point.Y_point[0] - pick_point.Y_point[1] <= 5)){
		return 1;
	}
	else if(!(pick_point.X_point[1] - pick_point.X_point[2] >= -5 && pick_point.X_point[1] - pick_point.X_point[2] <= 5) && !(pick_point.Y_point[1] - pick_point.Y_point[2] >= -5 && pick_point.Y_point[1] - pick_point.Y_point[2] <= 5)){
		return 3;
	}
	else if(!(pick_point.X_point[0] - pick_point.X_point[2] >= -5 && pick_point.X_point[0] - pick_point.X_point[2] <= 5) && !(pick_point.Y_point[0] - pick_point.Y_point[2] >= -5 && pick_point.Y_point[0] - pick_point.Y_point[2] <= 5)){
		return 2;
	}else{
		return 0;
	}
}

uint8_t find_diagonal_Y(){

	if(!(place_point.X_point[0] - place_point.X_point[1] >= -5 && place_point.X_point[0] - place_point.X_point[1] <= 5) && !(place_point.Y_point[0] - place_point.Y_point[1] >= -5 && place_point.Y_point[0] - place_point.Y_point[1] <= 5)){
		return 1;

	}
	else if(!(place_point.X_point[1] - place_point.X_point[2] >= -5 && place_point.X_point[1] - place_point.X_point[2] <= 5) && !(place_point.Y_point[1] - place_point.Y_point[2] >= -5 && place_point.Y_point[1] - place_point.Y_point[2] <= 5)){
		return 3;

	}
	else if(!(place_point.X_point[0] - place_point.X_point[2] >= -5 && place_point.X_point[0] - place_point.X_point[2] <= 5) && !(place_point.Y_point[0] - place_point.Y_point[2] >= -5 && place_point.Y_point[0] - place_point.Y_point[2] <= 5)){
		return 2;

	}else{
		return 0;
	}

}

void calculate(){
	static float height,width;
	if(find_diagonal_X() == 1){

		height = pick_point.X_point[0] - pick_point.X_point[1];
		width = pick_point.Y_point[0] - pick_point.Y_point[1];

		if(height > width){
			degree_triangle = atan(height/width);
		}else if(width < height){
			degree_triangle = atan(width/height);
		}
	}else if(find_diagonal_X() == 2){

		height = pick_point.X_point[1] - pick_point.X_point[2];
		width = pick_point.Y_point[1] - pick_point.Y_point[2];

		if(height > width){
			degree_triangle = atan(height/width);
		}else if(width < height){
			degree_triangle = atan(width/height);
		}

	}else if(find_diagonal_X() == 3){

		height = pick_point.X_point[0] - pick_point.X_point[2];
		width = pick_point.Y_point[0] - pick_point.Y_point[2];

		if(height > width){
			degree_triangle = atan(height/width);
		}else if(width < height){
			degree_triangle = atan(width/height);
		}

	}

}

void home_setpoint(){
	debug_1 = HAL_GPIO_ReadPin(GPIOA, GPIO_PIN_8);
	debug_2 = HAL_GPIO_ReadPin(GPIOA, GPIO_PIN_9);
	if(!HAL_GPIO_ReadPin(GPIOA, GPIO_PIN_9)){
		if(HAL_GPIO_ReadPin(GPIOA, GPIO_PIN_8)){
			flip_position = 1;
		}
		if(flip_position){
			HAL_GPIO_WritePin(GPIOC, GPIO_PIN_7, GPIO_PIN_RESET);
			__HAL_TIM_SET_COMPARE(&htim5, TIM_CHANNEL_1, 2000);
		}else if(!flip_position){
			HAL_GPIO_WritePin(GPIOC, GPIO_PIN_7, GPIO_PIN_SET);
			__HAL_TIM_SET_COMPARE(&htim5, TIM_CHANNEL_1, 2000);
		}

	}else{
		HAL_GPIO_WritePin(GPIOC, GPIO_PIN_7, GPIO_PIN_RESET);
		__HAL_TIM_SET_COMPARE(&htim5, TIM_CHANNEL_1, 0);
		__HAL_TIM_SET_COUNTER(&htim2, 0);
		__HAL_TIM_SET_COUNTER(&htim2, 0);
		__HAL_TIM_SET_COUNTER(&htim2, 0);
		__HAL_TIM_SET_COUNTER(&htim2, 0);
		__HAL_TIM_SET_COUNTER(&htim2, 0);
		__HAL_TIM_SET_COUNTER(&htim2, 0);
		__HAL_TIM_SET_COUNTER(&htim2, 0);
		__HAL_TIM_SET_COUNTER(&htim2, 0);
		__HAL_TIM_SET_COUNTER(&htim2, 0);
		flip_position = 0;
		registerFrame[16].U16 = 0;
		registerFrame[1].U16 = 0;
		mainstate = checkstate;
	}
}

void MainStateMechine()
{
	static uint16_t stack = 0;
	static uint8_t hold_status = 0;
	static uint32_t timestamp = 0;
	static uint8_t in_out = 0;
	static uint8_t array_place = 0;

		if(HAL_GetTick() >= timestamp)
		{
			timestamp = HAL_GetTick() + 1;
			switch (mainstate)
			{
				case checkstate: //base system status
					if(registerFrame[1].U16 == 1) // set pick tray
					{
						mainstate = SetPick_PlaceTray;
						registerFrame[16].U16 = 0;
						pick_or_place = 0;
					}
					else if(registerFrame[1].U16 == 2) // set place tray
					{
						mainstate = SetPick_PlaceTray;
						registerFrame[16].U16 = 1;
						pick_or_place = 1;
					}
					else if(registerFrame[1].U16 == 4) // set home
					{
						mainstate = Homing;
						home_in = 1;
						registerFrame[16].U16 = 2;
					}
					else if(registerFrame[1].U16 == 8) //  run tray mode
					{
						mainstate = Run_tray_mode;
					}
					else if(registerFrame[1].U16 == 16) // run point mode
					{
						mainstate = SetPoint;

					}

				break;

				case SetPoint:

					if(toggle_trajec){
						registerFrame[65].U16 = registerFrame[48].U16;//x axis target pos. = goal point x
						registerFrame[66].U16 = 300*10;//max speed x axis
						registerFrame[67].U16 = 1;//max acceleration x axis
						registerFrame[64].U16 = 2;//run x axis
					}else if(!toggle_trajec){
						registerFrame[64].U16 = 0;
						registerFrame[65].U16 = 0;
						registerFrame[66].U16 = 0;
						registerFrame[67].U16 = 0;//max acceleration x axis
					}

					if(registerFrame[49].U16 != payback_val){
						sampling_time = 0;
						payback_val = registerFrame[49].U16;
					}

					main_trajectory(registerFrame[49].U16/10.0, 1);

//					registerFrame[1].U16 = 0;

					mainstate = checkstate;

//					registerFrame[1].U16 = 0;

				break;

				case Homing:

					//reset base status
					if(home_in){
						registerFrame[16].U16 = 4;
						registerFrame[64].U16 = 1;//Home x-Axis
						home_in = 0;
					}

					home_setpoint();
					mainstate = checkstate;

				break;

				case SetPick_PlaceTray:

//					registerFrame[1].U16 = 0;//reset base status

					registerFrame[65].U16 = registerFrame[48].U16;//x axis target pos. = goal point x
					registerFrame[66].U16 = 50*10;//max speed x axis
					registerFrame[67].U16 = 3;//min acceleration x axis
					Joystick();

					mainstate = checkstate;

					if(registerFrame[64].U16 != 4 && registerFrame[64].U16 != 8)

						mainstate = checkstate;

				break;

				case Run_tray_mode:
					if(arrived){
						arrived = 0;
						main_trajectory(pick_place_array[array_place],0);
						array_place++;

						if(array_place == 10){
							mainstate = checkstate;
						}
					}

					//pick_place_array
					calculate();
					registerFrame[65].U16 = registerFrame[48].U16;

//					registerFrame[1].U16 = 0;

				break;
			}
			}

}

// I2C functions
//
// Soft Reset mode********************************
void softResetMode(){
	HAL_I2C_Master_Transmit_IT(&hi2c1, slaveAddress << 1, softResetseq, 4);
}
//*************************************************

//Emergency mode***********************************************
void EmergencyMode(){
     HAL_I2C_Master_Transmit_IT(&hi2c1, slaveAddress << 1, Emergencyseq, 1);
}

void stopEmergencyMode(){
	 HAL_I2C_Master_Transmit_IT(&hi2c1, slaveAddress << 1, stopEmergencyseq, 4);
}
//*************************************************************

//Test mode****************************************************
void startTestMode()
{
	HAL_I2C_Master_Transmit_IT(&hi2c1, slaveAddress << 1, startTestseq, 2);
}
void stopTestMode()
{
	HAL_I2C_Master_Transmit_IT(&hi2c1, slaveAddress << 1, stopTestseq, 2);
}
//**************************************************************

// ReadMode***************************************************

void readStatus(){
	HAL_I2C_Master_Receive_IT(&hi2c1, slaveAddress << 1, statusTemp, 1);
}
//*************************************************************

//Gripper**********************************************************

void startRunMode(void)
{
  HAL_I2C_Master_Transmit_IT(&hi2c1, slaveAddress << 1, startRunseq, 2);
}

void stopRunMode(void)
{
  HAL_I2C_Master_Transmit_IT(&hi2c1, slaveAddress << 1, stopRunseq, 2);
}

void pickMode(void)
{
  HAL_I2C_Master_Transmit_IT(&hi2c1, slaveAddress << 1, pickseq, 2);
}

void placeMode(void)
{
  HAL_I2C_Master_Transmit_IT(&hi2c1, slaveAddress << 1, placeseq, 2);
}
//************************************************************

void modeControl(){
	if(modeSelect == 0){
		readFlag2 = 0;

	}

	if( modeSelect == 1){
		softResetMode();
		modeSelect = 0;

	}
	if( modeSelect == 2){
		EmergencyMode();
		modeSelect = 0;

	}
	if( modeSelect == 3){
		stopEmergencyMode();
		modeSelect = 0;

	}
	if( modeSelect == 4){
		startTestMode();
		modeSelect = 0;

	}
	if( modeSelect == 5){
		stopTestMode();
		modeSelect = 0;

	}
	if( modeSelect == 6){
		startRunMode();
		modeSelect = 0;

	}
	if( modeSelect == 7){
		stopRunMode();
		modeSelect = 0;

	}
	if( modeSelect == 8){
		read_count = 0;
		pickMode();
          readFlag2 = 1;

		modeSelect = 0;

	}
	if( modeSelect == 9){
		read_count = 0;
		placeMode();
          readFlag2 = 1;

		modeSelect = 0;

	}
}

void HAL_I2C_MasterTxCpltCallback(I2C_HandleTypeDef *hi2c)
{
 readFlag = 1;
}

void HAL_I2C_MasterRxCpltCallback(I2C_HandleTypeDef *hi2c)
{
 readFlag = 0;
}

/* USER CODE END 4 */

void Error_Handler(void)
{
  __disable_irq();
  while (1)
  {
  }
}
